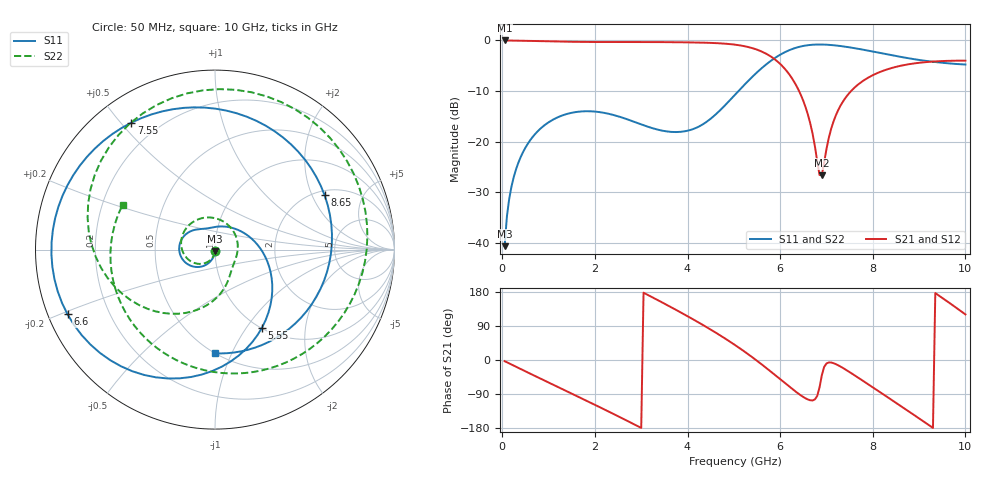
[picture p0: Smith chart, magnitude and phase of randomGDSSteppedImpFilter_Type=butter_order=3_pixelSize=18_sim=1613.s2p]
! freq	dB(S11)	phase(S11)	dB(S12)	phase(S12)
!  dB(S21)	phase(S21)	dB(S22)	phase(S22)
!S-par simulation data
#  GHz  S  DB  R 50
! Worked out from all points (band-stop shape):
!   200 points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, 50 MHz to 10 GHz, reference 50 ohm
!   highest |S21| = -0.01 dB at 50 MHz (marker M1); lowest = -26.6 dB at 6.9 GHz (marker M2)
!   |S21| within 3 dB of the highest: start of sweep to 5.769 GHz
!   lowest |S11| = -40.7 dB at 50 MHz (marker M3), VSWR 1.02, Z = 50 - j0.927 ohm
!   |S11| at or under -10 dB: start of sweep to 5.1 GHz
!   |S22| runs from -40.7 to -0.9 dB; largest |S21 - S12| = 0
!   S11 on the Smith chart (normalised r, x): 50 MHz: 1.00, -0.02; 5.55 GHz: 1.01, -1.19; 6.6 GHz: 0.06, -0.21; 7.55 GHz: 0.11, +0.53; 8.65 GHz: 2.21, +2.49; 10 GHz: 0.50, -0.86
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0.05  -40.65 -91.2  -0.01 -3.1  -0.01 -3.1  -40.66 -91.9
0.2  -28.80 -100.5  -0.03 -12.0  -0.03 -12.0  -28.81 -103.3
0.5  -21.18 -116.8  -0.07 -29.9  -0.07 -29.9  -21.20 -123.8
1.15  -15.39 -150.5  -0.21 -68.3  -0.21 -68.3  -15.40 -167.6
1.75  -14.01 -179.5  -0.30 -103.5  -0.30 -103.5  -14.02 151.0
2.65  -15.43 142.5  -0.32 -157.5  -0.32 -157.5  -15.44 81.5
3.4  -17.72 116.7  -0.33 155.3  -0.33 155.3  -17.72 13.5
4.3  -16.74 59.9  -0.43 94.7  -0.43 94.7  -16.64 -51.4
4.65  -14.27 25.9  -0.55 69.1  -0.55 69.1  -14.19 -69.5
5.05  -10.49 -12.8  -0.87 37.5  -0.87 37.5  -10.50 -95.1
5.55  -5.90 -58.9  -2.00 -6.7  -2.00 -6.7  -6.00 -138.9
6.1  -2.33 -110.1  -5.60 -60.6  -5.60 -60.6  -2.48 160.0
6.6  -0.94 -156.3  -14.68 -104.2  -14.68 -104.2  -1.07 100.1
6.7  -0.85 -165.2  -18.42 -106.7  -18.42 -106.7  -0.97 88.4
6.9  -0.81 177.4  -26.63 -40.0  -26.63 -40.0  -0.90 65.7
7.15  -0.95 156.4  -16.06 -8.3  -16.06 -8.3  -1.01 38.9
7.55  -1.44 123.4  -9.83 -35.9  -9.83 -35.9  -1.46 0.1
7.95  -2.10 89.7  -7.11 -68.0  -7.11 -68.0  -2.08 -34.3
8.35  -2.81 54.2  -5.61 -100.6  -5.61 -100.6  -2.75 -65.2
8.65  -3.33 26.3  -4.92 -125.2  -4.92 -125.2  -3.25 -87.2
9.35  -4.27 -38.3  -4.15 176.6  -4.15 176.6  -4.25 -140.8
10  -4.76 -90.2  -4.00 120.4  -4.00 120.4  -4.85 154.1
